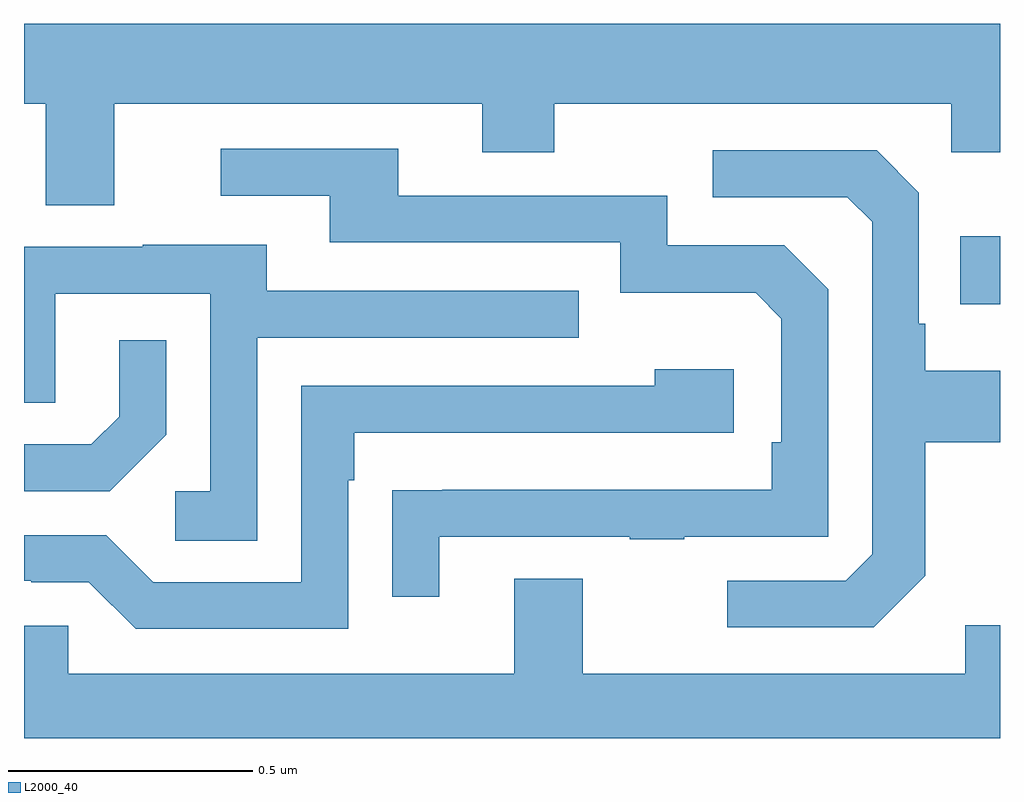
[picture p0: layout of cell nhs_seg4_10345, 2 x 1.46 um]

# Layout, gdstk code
import gdstk
lib = gdstk.Library(unit=1e-6, precision=1e-09)
def R(c, l, rs):  # rectangles x0, y0, x1, y1
    for r in rs: c.add(gdstk.rectangle(r[:2], r[2:], *l))
def P(c, l, *ps):  # polygons
    for p in ps: c.add(gdstk.Polygon(p, *l))
L2000_40 = (2000, 40)

nhs_seg4_10345 = lib.new_cell('nhs_seg4_10345')
R(nhs_seg4_10345, L2000_40, [(240.919,749.789,241,749.929)])
P(nhs_seg4_10345, L2000_40, [(239.185,750.2),(239.939,750.2),(239.939,750.101),(240.087,750.101),(240.087,750.2),(240.9,750.2),(240.9,750.101),(241,750.101),(241,750.364),(239,750.364),(239,750.2),(239.045,750.2),(239.045,749.992),(239.185,749.992)],
  [(239.851,749.313),(240.241,749.313),(240.241,749.308),(240.353,749.308),(240.353,749.313),(240.648,749.313),(240.648,749.82),(240.558,749.91),(240.318,749.91),(240.318,750.012),(239.767,750.012),(239.767,750.108),(239.403,750.108),(239.403,750.012),(239.627,750.012),(239.627,749.916),(240.222,749.916),(240.222,749.813),(240.499,749.813),(240.552,749.76),(240.552,749.506),(240.532,749.506),(240.532,749.409),(239.857,749.409),(239.857,749.408),(239.755,749.408),(239.755,749.19),(239.851,749.19)],
  [(240.847,749.233),(240.847,749.506),(241,749.506),(241,749.653),(240.847,749.653),(240.847,749.749),(240.834,749.749),(240.834,750.018),(240.747,750.105),(240.411,750.105),(240.411,750.009),(240.687,750.009),(240.738,749.958),(240.738,749.277),(240.684,749.223),(240.441,749.223),(240.441,749.127),(240.741,749.127)],
  [(239.478,749.721),(240.137,749.721),(240.137,749.817),(239.497,749.817),(239.497,749.911),(239.243,749.911),(239.243,749.907),(239,749.907),(239,749.587),(239.064,749.587),(239.064,749.811),(239.382,749.811),(239.382,749.406),(239.31,749.406),(239.31,749.305),(239.478,749.305)],
  [(239.292,749.522),(239.292,749.716),(239.195,749.716),(239.195,749.559),(239.138,749.502),(239,749.502),(239,749.406),(239.176,749.406)],
  [(239.664,749.429),(239.677,749.429),(239.677,749.526),(240.454,749.526),(240.454,749.656),(240.293,749.656),(240.293,749.622),(239.568,749.622),(239.568,749.22),(239.265,749.22),(239.169,749.316),(239,749.316),(239,749.223),(239.015,749.223),(239.015,749.22),(239.133,749.22),(239.229,749.124),(239.664,749.124)],
  [(241,749.131),(240.929,749.131),(240.929,749.032),(240.145,749.032),(240.145,749.227),(240.005,749.227),(240.005,749.032),(239.091,749.032),(239.091,749.13),(239,749.13),(239,748.9),(241,748.9)])

lib.write_gds('nhs_seg4_10345.gds')
